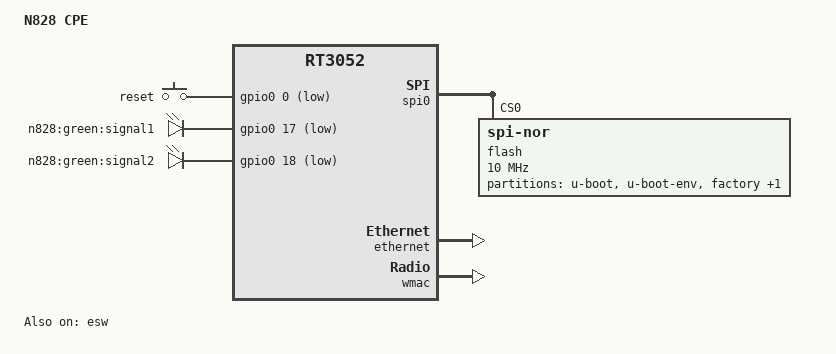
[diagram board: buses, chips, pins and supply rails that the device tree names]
/dts-v1/;

#include "rt3050.dtsi"
#include <dt-bindings/gpio/gpio.h>
#include <dt-bindings/input/input.h>

/ {
	compatible = "n828", "ralink,rt3052-soc";
	model = "N828 CPE";

	aliases {
		led-boot = &led_system;
		led-failsafe = &led_system;
		led-running = &led_system;
		led-upgrade = &led_system;
	};

	gpio-keys {
		compatible = "gpio-keys-polled";
		poll-interval = <20>;

		reset {
			label = "reset";
			/* 修正：实测 Reset 按键连接的是 GPIO 0 (Pin 17) */
			gpios = <&gpio0 0 GPIO_ACTIVE_LOW>;
			linux,code = <KEY_RESTART>;
		};
	};

	gpio-leds {
		compatible = "gpio-leds";

		/* 警告：原 DTS 中 System LED 使用的 GPIO 13 属于 uartf 组 (UART RX)。
		   为避免与串口控制台冲突，此处暂时注释掉。
		   待确认硬件上 System LED 的实际 GPIO 后再启用。 */
		/*
		led_system: system {
			label = "n828:green:system";
			gpios = <&gpio0 13 GPIO_ACTIVE_LOW>;
		};
		*/

		/* 为了满足 aliases 的引用，这里提供一个 dummy (虚拟) 节点，
		   或者你可以把 aliases 里的 led-system 指向一个确定的 LED (如 signal_1) */
		led_system: signal_1 {
			label = "n828:green:signal1";
			/* 信号1使用 GPIO 17，属于 jtag 组，Pinmux 已正确配置 */
			gpios = <&gpio0 17 GPIO_ACTIVE_LOW>;
		};

		signal_2 {
			label = "n828:green:signal2";
			gpios = <&gpio0 18 GPIO_ACTIVE_LOW>;
		};

		/* 信号灯3 (GPIO 21) 待 sysfs 实测后补充 */
	};
};

&spi0 {
	status = "okay";

	flash@0 {
		compatible = "jedec,spi-nor";
		reg = <0>;
		spi-max-frequency = <10000000>;

		partitions {
			compatible = "fixed-partitions";
			#address-cells = <1>;
			#size-cells = <1>;

			partition@0 {
				label = "u-boot";
				reg = <0x0 0x30000>;
				read-only;
			};

			partition@30000 {
				label = "u-boot-env";
				reg = <0x30000 0x10000>;
				read-only;
			};

			factory: partition@40000 {
				label = "factory";
				reg = <0x40000 0x10000>;
				read-only;
			};

			partition@50000 {
				compatible = "denx,uimage";
				label = "firmware";
				reg = <0x50000 0x3b0000>;
			};
		};
	};
};

&state_default {
	gpio {
		/* 修正：移除了 "uartf"。
		   uartf 组包含 GPIO 7~14，强制复用为 gpio 会与 UART 驱动冲突，
		   导致 Pinmux 报错 -22 甚至串口控制台失效。
		   保留 i2c (GPIO 1,2) 和 jtag (GPIO 17~21) 复用为 gpio。 */
		groups = "i2c", "jtag";
		function = "gpio";
	};
};

&ethernet {
	status = "okay";
	mtd-mac-address = <&factory 0x28>;
};

&esw {
	status = "okay";
	mediatek,portmap = <0x2f>;
};

&wmac {
	status = "okay";
	ralink,mtd-eeprom = <&factory 0x0>;
};
